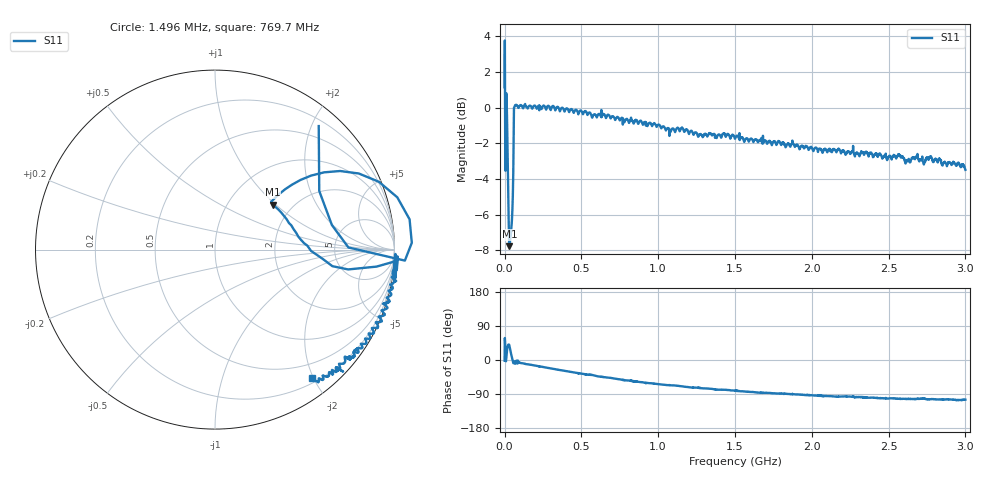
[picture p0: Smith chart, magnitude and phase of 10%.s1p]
# HZ S RI R 50
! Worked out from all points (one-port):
!   2020 points, 10 kHz to 3 GHz, reference 50 ohm
!   lowest |S11| = -7.8 dB at 31.21 MHz (marker M1), VSWR 2.38, Z = 79.9 + j48.1 ohm
!   |S11| at or under -10 dB: nowhere
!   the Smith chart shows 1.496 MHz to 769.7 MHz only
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10000  1.141 -0.0368
5953516  0.6514 0.1365
1.635467e7  0.8012 0.424
1.932643e7  0.6084 0.4305
2.378406e7  0.4297 0.3621
2.675582e7  0.3602 0.3113
3.121346e7  0.3228 0.2506
3.715698e7  0.3843 0.1873
4.310049e7  0.4383 0.1133
5.350164e7  0.5645 -0.0272
6.39028e7  1.002 -0.0876
7.133219e7  1.014 -0.0677
7.578983e7  1.017 -0.0376
2.422083e8  0.9472 -0.3086
3.759374e8  0.885 -0.466
6.196215e8  0.6923 -0.6637
7.503789e8  0.5779 -0.7173
9.019386e8  0.4599 -0.7731
1.126306e9  0.327 -0.8165
1.211001e9  0.2595 -0.8195
1.500748e9  0.1298 -0.808
1.652307e9  0.0549 -0.8007
1.875189e9  -0.00462 -0.794
2.158992e9  -0.0883 -0.7456
2.251117e9  -0.086 -0.7391
2.625558e9  -0.1572 -0.6901
2.766717e9  -0.1682 -0.7044
3e9  -0.1698 -0.6474
